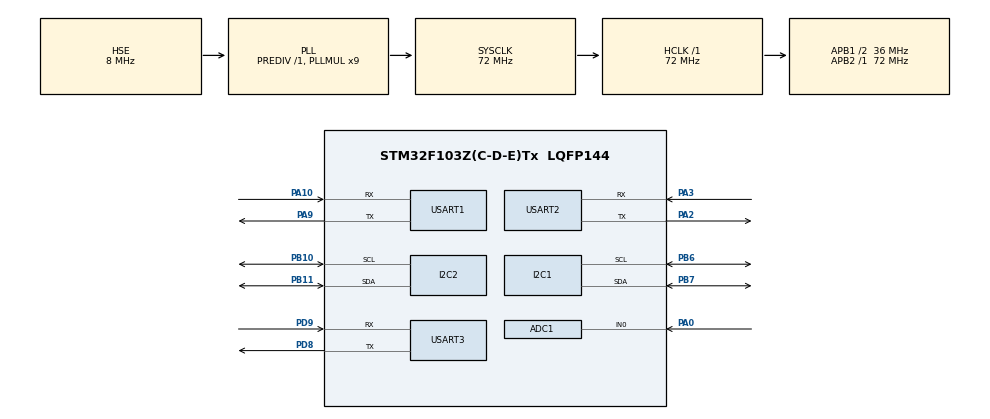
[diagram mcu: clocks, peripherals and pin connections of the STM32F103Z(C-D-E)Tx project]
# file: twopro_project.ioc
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ADC1.Channel-0\#ChannelRegularConversion=ADC_CHANNEL_0
ADC1.NbrOfConversionFlag=1
ADC1.Rank-0\#ChannelRegularConversion=1
ADC1.SamplingTime-0\#ChannelRegularConversion=ADC_SAMPLETIME_1CYCLE_5
ADC1.master=1
Mcu.Family=STM32F1
Mcu.Name=STM32F103Z(C-D-E)Tx
Mcu.Package=LQFP144
NVIC.I2C2_EV_IRQn=true\:0\:0\:false\:false\:true\:true\:true\:true
NVIC.PriorityGroup=NVIC_PRIORITYGROUP_4
NVIC.USART1_IRQn=true\:0\:0\:false\:false\:true\:true\:true\:true
NVIC.USART2_IRQn=true\:0\:0\:false\:false\:true\:true\:true\:true
NVIC.USART3_IRQn=true\:0\:0\:false\:false\:true\:true\:true\:true
OSC_IN.Mode=HSE-External-Oscillator
OSC_IN.Signal=RCC_OSC_IN
OSC_OUT.Mode=HSE-External-Oscillator
OSC_OUT.Signal=RCC_OSC_OUT
PA0-WKUP.Signal=ADCx_IN0
PA10.Mode=Asynchronous
PA10.Signal=USART1_RX
PA13.Mode=Serial_Wire
PA13.Signal=SYS_JTMS-SWDIO
PA14.Mode=Serial_Wire
PA14.Signal=SYS_JTCK-SWCLK
PA2.Mode=Asynchronous
PA2.Signal=USART2_TX
PA3.Mode=Asynchronous
PA3.Signal=USART2_RX
PA9.Mode=Asynchronous
PA9.Signal=USART1_TX
PB10.Mode=I2C
PB10.Signal=I2C2_SCL
PB11.Mode=I2C
PB11.Signal=I2C2_SDA
PB6.Mode=I2C
PB6.Signal=I2C1_SCL
PB7.Mode=I2C
PB7.Signal=I2C1_SDA
PD8.Mode=Asynchronous
PD8.Signal=USART3_TX
PD9.Mode=Asynchronous
PD9.Signal=USART3_RX
ProjectManager.HeapSize=0x200
ProjectManager.StackSize=0x400
ProjectManager.TargetToolchain=MDK-ARM V5
RCC.ADCPresc=RCC_ADCPCLK2_DIV6
RCC.AHBFreq_Value=72000000
RCC.APB1CLKDivider=RCC_HCLK_DIV2
RCC.APB1Freq_Value=36000000
RCC.APB1TimFreq_Value=72000000
RCC.APB2Freq_Value=72000000
RCC.APB2TimFreq_Value=72000000
RCC.HCLKFreq_Value=72000000
RCC.PLLMUL=RCC_PLL_MUL9
RCC.PLLSourceVirtual=RCC_PLLSOURCE_HSE
RCC.SYSCLKFreq_VALUE=72000000
RCC.SYSCLKSource=RCC_SYSCLKSOURCE_PLLCLK
RCC.USBFreq_Value=72000000
SH.ADCx_IN0.0=ADC1_IN0,IN0
USART1.VirtualMode=VM_ASYNC
USART2.VirtualMode=VM_ASYNC
USART3.VirtualMode=VM_ASYNC
board=custom

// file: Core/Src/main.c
/* USER CODE BEGIN Header */
/**
  ******************************************************************************
  * @file           : main.c
  * @brief          : Main program body
  ******************************************************************************
  * @attention
  *
  * Copyright (c) 2025 STMicroelectronics.
  * All rights reserved.
  *
  * This software is licensed under terms that can be found in the LICENSE file
  * in the root directory of this software component.
  * If no LICENSE file comes with this software, it is provided AS-IS.
  *
  ******************************************************************************
  */

/* USER CODE END Header */
#include "main.h"
#include "adc.h"
#include "i2c.h"
#include "usart.h"
#include "gpio.h"

/* USER CODE BEGIN Includes */
#include "stdio.h"
#include "dht11.h"
#include "esp8266.h"
#include "onenet.h"
#include "delay.h"
#include "sgp30.h"
#include "math.h"
/* USER CODE END Includes */

/* USER CODE BEGIN PTD */
extern float lux;//光照强度值
float ST ;  // 土壤温度
float SM ;  // 土壤湿度
float PH ;  // 土壤 PH 值
float N ;   // 氮含量
float P ;   // 磷含量
float K ;   // 钾含量
uint8_t soilSensorData[25];// 接收土壤传感器返回数据的缓冲区
uint8_t command[] = {0x01, 0x03, 0x00, 0x00, 0x00, 0x0A, 0xC5, 0xCD};
double air_q=0.0;//空气质量

/* USER CODE END PTD */

/* USER CODE BEGIN PM */
void co2_get(char* co2str,char* tvocstr)
{
	float co2;
	float tvoc;
	if( sgp30_sample(&co2, &tvoc) != HAL_OK){
			printf( "sgp30 samle error\r\n");
		}
	sprintf(co2str, "%.2f", co2);
	sprintf(tvocstr, "%.2f", tvoc);
	printf("co2:%s, tvoc:%s\r\n", co2str, tvocstr);

}
/* USER CODE END PM */

/* USER CODE BEGIN PV */
void StartUART3Receive(void) {
    // 启动中断接收，接收 25 字节的数据
    HAL_UART_Receive_IT(&huart3, soilSensorData, sizeof(soilSensorData));
}
/* USER CODE END PV */

void SystemClock_Config(void);

int main(void)
{
  /* USER CODE BEGIN 1 */
	char co2str[6] = {0};
	char tvocstr[6] = {0};
  /* USER CODE END 1 */

  /* MCU Configuration--------------------------------------------------------*/

  /* Reset of all peripherals, Initializes the Flash interface and the Systick. */
  HAL_Init();

  /* Configure the system clock */
  SystemClock_Config();

  /* Initialize all configured peripherals */
  MX_GPIO_Init();
  MX_I2C1_Init();
  MX_I2C2_Init();
  MX_USART1_UART_Init();
  MX_USART2_UART_Init();
  MX_USART3_UART_Init();
  MX_ADC1_Init();
  /* USER CODE BEGIN 2 */
	StartUART3Receive();
	BH1750_Init();
	if(sgp30_init() != HAL_OK){
      printf( "sgp30 init error\r\n");
	}else{
			printf("sgp30 init ok\r\n");
	}
	HAL_Delay(1000);
	esp8266_init(115200);
  printf("hello world!\r\n");

  printf("MQTT初始化...\r\n");
  mqtt_init();

  printf("MQTT连接...\r\n");
  mqtt_connect(MQTT_ClientID, MQTT_UserName, MQTT_PassWord);

  uint8_t data_send[512] = {0};
  uint8_t dht11_data[4] = {0};
  /* USER CODE END 2 */

  /* Infinite loop */
  while (1)
  {

    /* USER CODE BEGIN 3 */
		 co2_get(co2str,tvocstr);//二氧化碳浓度读取
		 memset(dht11_data, 0, 4);
     dht11_read(dht11_data);//温湿度读取
		 start_read_BH1750();//光照强度监测
		 HAL_ADC_Start(&hadc1);
		 air_q=HAL_ADC_GetValue(&hadc1);//空气质量采集
		 HAL_ADC_Stop(&hadc1);
		 float vol=(float)air_q*(3.3/4096);//电压值
     double RS=(5-vol)/vol*0.5;
     double R0=6.64;
     double ppm=pow(11.5428*R0/RS,0.6549f)*100;
		 HAL_Delay(100);
		 HAL_UART_Transmit(&huart3, command, sizeof(command), HAL_MAX_DELAY);//soil,发送指令
     sprintf((char *)data_send, "{ \"AEID\": 1,\"LI\": %lf, \"PH\": %.2f,\"ST\": %.2f,\"SM\": %.2f,\"N\": %.2f,\"P\": %.2f,\"K\": %.2f,\"AT\": %d.%d, \"AH\": %d.%d,\"AQ\": %.2lf,\"CO2\": %s, \"CH4O\": %s}",
            lux,PH,ST,SM,N,P,K,dht11_data[2], dht11_data[3], dht11_data[0], dht11_data[1],ppm,co2str,tvocstr);
     //printf("%s\n",data_send);
     mqtt_publish_data(POST_TOPIC, (char *)data_send, 0);

     delay_ms(3000);

     //printf("\r\n~~~~~~~~~~~~~~~~~发送心跳包~~~~~~~~~~~~~~~~~\r\n");
     mqtt_send_heart();
     //printf("\r\n~~~~~~~~~~~~~~~~~发送心跳包结束~~~~~~~~~~~~~~~~~\r\n");

     HAL_Delay(3000);  // 延迟 30秒
  }
  /* USER CODE END 3 */
}

void SystemClock_Config(void)
{
  RCC_OscInitTypeDef RCC_OscInitStruct = {0};
  RCC_ClkInitTypeDef RCC_ClkInitStruct = {0};
  RCC_PeriphCLKInitTypeDef PeriphClkInit = {0};

  /** Initializes the RCC Oscillators according to the specified parameters
  * in the RCC_OscInitTypeDef structure.
  */
  RCC_OscInitStruct.OscillatorType = RCC_OSCILLATORTYPE_HSE;
  RCC_OscInitStruct.HSEState = RCC_HSE_ON;
  RCC_OscInitStruct.HSEPredivValue = RCC_HSE_PREDIV_DIV1;
  RCC_OscInitStruct.HSIState = RCC_HSI_ON;
  RCC_OscInitStruct.PLL.PLLState = RCC_PLL_ON;
  RCC_OscInitStruct.PLL.PLLSource = RCC_PLLSOURCE_HSE;
  RCC_OscInitStruct.PLL.PLLMUL = RCC_PLL_MUL9;
  if (HAL_RCC_OscConfig(&RCC_OscInitStruct) != HAL_OK)
  {
    Error_Handler();
  }

  /** Initializes the CPU, AHB and APB buses clocks
  */
  RCC_ClkInitStruct.ClockType = RCC_CLOCKTYPE_HCLK|RCC_CLOCKTYPE_SYSCLK
                              |RCC_CLOCKTYPE_PCLK1|RCC_CLOCKTYPE_PCLK2;
  RCC_ClkInitStruct.SYSCLKSource = RCC_SYSCLKSOURCE_PLLCLK;
  RCC_ClkInitStruct.AHBCLKDivider = RCC_SYSCLK_DIV1;
  RCC_ClkInitStruct.APB1CLKDivider = RCC_HCLK_DIV2;
  RCC_ClkInitStruct.APB2CLKDivider = RCC_HCLK_DIV1;

  if (HAL_RCC_ClockConfig(&RCC_ClkInitStruct, FLASH_LATENCY_2) != HAL_OK)
  {
    Error_Handler();
  }
  PeriphClkInit.PeriphClockSelection = RCC_PERIPHCLK_ADC;
  PeriphClkInit.AdcClockSelection = RCC_ADCPCLK2_DIV6;
  if (HAL_RCCEx_PeriphCLKConfig(&PeriphClkInit) != HAL_OK)
  {
    Error_Handler();
  }
}

void Error_Handler(void)
{
  __disable_irq();
  while (1)
  {
  }
}
